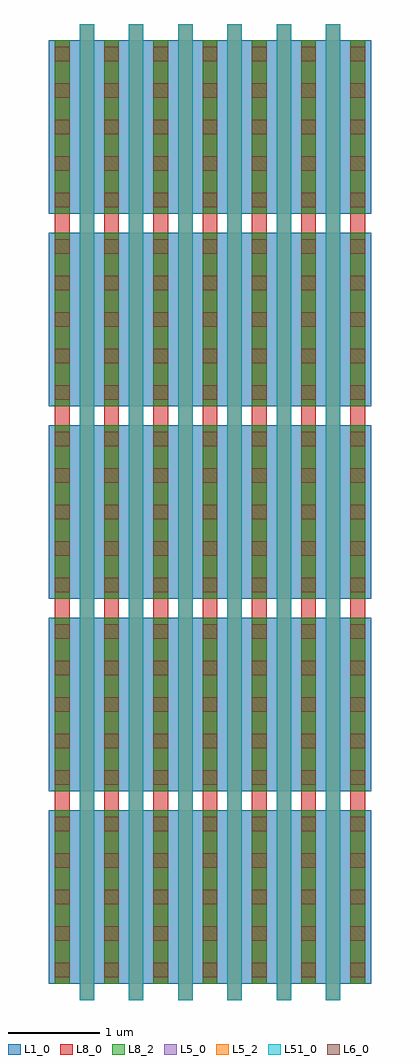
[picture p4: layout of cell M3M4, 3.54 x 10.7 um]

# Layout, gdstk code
import gdstk
lib = gdstk.Library(unit=1e-6, precision=1e-09)
def R(c, l, rs):  # rectangles x0, y0, x1, y1
    for r in rs: c.add(gdstk.rectangle(r[:2], r[2:], *l))
def A(c, l, x, y, w, h, nx, ny, dx, dy):  # array of equal rectangles
    R(c, l, [(x+i*dx, y+j*dy, x+i*dx+w, y+j*dy+h) for i in range(nx) for j in range(ny)])
L1_0 = (1, 0)
L5_0 = (5, 0)
L5_2 = (5, 2)
L6_0 = (6, 0)
L8_0 = (8, 0)
L8_2 = (8, 2)
L51_0 = (51, 0)

nmos_2 = lib.new_cell('nmos$2')
R(nmos_2, L1_0, [(0,0,0.3,0.3), (0,0,0.84,1.9), (0.54,0,0.84,0.3)])
R(nmos_2, L5_0, [(0.34,-0.18,0.5,2.08)])
R(nmos_2, L5_2, [(0.34,-0.18,0.5,2.08)])
A(nmos_2, L6_0, 0.07, 0.07, 0.16, 0.16, 1, 5, 0, 0.4)
A(nmos_2, L6_0, 0.61, 0.07, 0.16, 0.16, 1, 5, 0, 0.4)
R(nmos_2, L8_0, [(0.07,0,0.23,1.9), (0.61,0,0.77,1.9)])
R(nmos_2, L8_2, [(0.07,0,0.23,1.9), (0.61,0,0.77,1.9)])
R(nmos_2, L51_0, [(0.34,-0.18,0.5,2.08)])
nmos_2.add(gdstk.Label('nmos', (0.42,0.95), layer=63, texttype=0))
nmos_2.add(gdstk.Label('nmos', (0.42,0.95), layer=51, texttype=0))

m1_conm3m4 = lib.new_cell('M1_conM3M4')
R(m1_conm3m4, L8_0, [(0,0,0.16,0.21)])

m3m4 = lib.new_cell('M3M4')
r = gdstk.Reference(nmos_2, (-0.395,-0.12)); r.repetition = gdstk.Repetition(6, 5, v1=(0.54,0), v2=(0,2.11)); m3m4.add(r)
r = gdstk.Reference(m1_conm3m4, (-0.325,1.78)); r.repetition = gdstk.Repetition(7, 4, v1=(0.54,0), v2=(0,2.11)); m3m4.add(r)

lib.write_gds('M3M4.gds')
